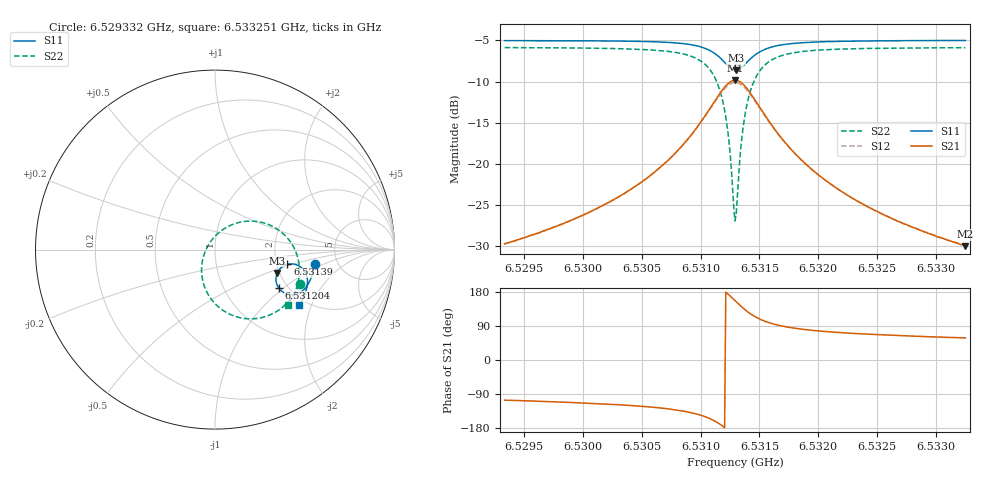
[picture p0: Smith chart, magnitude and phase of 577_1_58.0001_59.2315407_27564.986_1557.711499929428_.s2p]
#  HZ  S  RI  R  50.00
! Rohde & Schwarz Vector Network Analyzer
! Rohde-Schwarz,ZNB20-2Port,1311601062101988,3.16
! Created: UTC 3/21/2024, 1:16:09 AM
! freq[Hz]  re:S11  im:S11  re:S21  im:S21  re:S12  im:S12  re:S22  im:S22
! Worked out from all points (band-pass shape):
!   401 points, 6.529332 GHz to 6.533251 GHz, reference 50 ohm
!   highest |S21| = -9.85 dB at 6.531292 GHz (marker M1); lowest = -30.0 dB at 6.533251 GHz (marker M2)
!   |S21| within 3 dB of the highest: 6.531097 GHz to 6.531489 GHz (391.7 kHz wide, 0.006 % of centre)
!   lowest |S11| = -8.6 dB at 6.531302 GHz (marker M3), VSWR 2.18, Z = 97.3 - j29.4 ohm
!   |S11| at or under -10 dB: nowhere
!   |S22| runs from -27.0 to -5.9 dB; largest |S21 - S12| = 0.013
!   S11 on the Smith chart (normalised r, x): 6.529332 GHz: 3.34, -0.80; 6.531204 GHz: 1.79, -0.92; 6.53139 GHz: 2.29, -0.45; 6.533251 GHz: 1.82, -1.64
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6.5293325e9  0.5545 -0.0823  -0.00891 -0.0313  -0.00965 -0.0312  0.4709 -0.1925
6.5299889e9  0.5423 -0.1374  -0.0191 -0.0443  -0.0203 -0.044  0.4373 -0.2534
6.5303612e9  0.5294 -0.1723  -0.0325 -0.0581  -0.0341 -0.0575  0.4021 -0.2972
6.5306453e9  0.5117 -0.2037  -0.0553 -0.0756  -0.0575 -0.0739  0.3509 -0.3397
6.5308706e9  0.483 -0.2326  -0.0973 -0.0948  -0.1001 -0.0911  0.2667 -0.3774
6.5310372e9  0.4369 -0.2504  -0.1685 -0.0995  -0.1708 -0.0923  0.1361 -0.3789
6.5311351e9  0.3904 -0.243  -0.2403 -0.0699  -0.239 -0.0597  0.0164 -0.3168
6.5312037e9  0.3546 -0.213  -0.2925 -0.00741  -0.2856 0.00284  -0.0598 -0.203
6.5312331e9  0.3439 -0.1912  -0.3056 0.0332  -0.2962 0.042  -0.0742 -0.1334
6.5312723e9  0.3401 -0.1567  -0.3051 0.0956  -0.2935 0.1009  -0.0621 -0.0313
6.5312919e9  0.3439 -0.1387  -0.2956 0.1269  -0.2836 0.1299  -0.0412 0.0179
6.5313017e9  0.3471 -0.1301  -0.2886 0.1416  -0.2766 0.1437  -0.0271 0.0408
6.5313115e9  0.3512 -0.1222  -0.2801 0.1557  -0.2683 0.1566  -0.0107 0.0622
6.5313507e9  0.3746 -0.0959  -0.2354 0.2002  -0.2257 0.1977  0.0694 0.1268
6.5313899e9  0.4036 -0.0823  -0.1835 0.2231  -0.1765 0.2193  0.1585 0.1563
6.5314584e9  0.4491 -0.0829  -0.1043 0.2232  -0.1007 0.2196  0.2909 0.1423
6.5315564e9  0.4884 -0.1068  -0.037 0.1889  -0.0354 0.1869  0.3991 0.0695
6.5317034e9  0.5106 -0.1445  0.00269 0.1387  0.0038 0.1379  0.4571 -0.0307
6.5319483e9  0.5153 -0.1887  0.0187 0.0901  0.0197 0.0896  0.4701 -0.1313
6.5322618e9  0.508 -0.2268  0.0209 0.0601  0.0217 0.0598  0.4578 -0.201
6.5326047e9  0.4964 -0.2585  0.0196 0.0429  0.0205 0.0427  0.4398 -0.248
6.5332513e9  0.4706 -0.3076  0.0165 0.0269  0.0173 0.0267  0.4051 -0.3067
